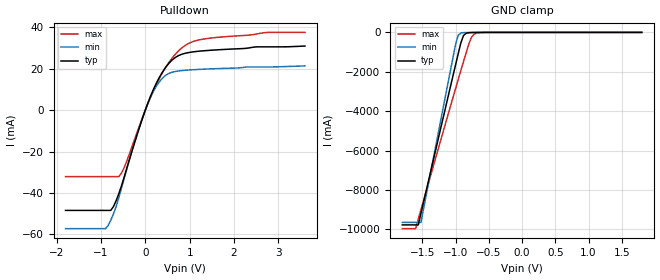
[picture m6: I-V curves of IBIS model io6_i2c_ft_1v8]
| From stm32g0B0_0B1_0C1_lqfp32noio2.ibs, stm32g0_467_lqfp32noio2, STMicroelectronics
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|   Model io6_i2c_ft_1v8
[Model]  io6_i2c_ft_1v8
Model_type I/O_open_drain
Polarity   Non-Inverting
Enable   Active-High
Vinl =   0.540000V
Vinh =   1.260000V
Vmeas =  0.900000V
Cref =   30.000000pF
Rref =   100.000000
Vref =   2.000000V
C_comp   1.962900pF   1.853500pF   2.066400pF
[Temperature Range]   25.000000   -40.000000   0.125000k
[Pullup Reference]   1.800000V   1.600000V   2.000000V
[Pulldown Reference]   0.0V   0.0V   0.0V
[POWER Clamp Reference]   1.800000V   1.600000V   2.000000V
[GND Clamp Reference]   0.0V   0.0V   0.0V
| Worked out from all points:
|   slope of the pulldown table from 0 to 0.27 V, typ, clamps not added: 19.5 ohm
|   GND clamp passes 1 mA (typ) near -0.58 V on its own axis
[Pulldown]
|Voltage   I(typ)   I(min)   I(max)
-1.8V     -48.38mA   -57.19mA   -32.1mA
-900mV    -48.38mA   -57.19mA   -32.1mA
-720mV    -46.58mA   -50.16mA   -32.1mA
-600mV    -40.48mA   -42.45mA   -32.1mA
-480mV    -32.53mA   -33.18mA   -27.91mA
0V        10fA       11fA       0A
240mV     12.61mA    11.24mA    12.02mA
480mV     21.23mA    17.08mA    21.33mA
840mV     27.07mA    19.1mA     30.29mA
1.2V      28.39mA    19.63mA    33.8mA
2.76V     30.52mA    20.81mA    37.48mA
3.6V      30.9mA     21.33mA    37.48mA
[GND_clamp]
|Voltage   I(typ)   I(min)   I(max)
-1.8V     -9.78A     -9.654A    -9.97A
-1.6V     -9.78A     -9.654A    -9.97A
-1.56V    -9.78A     -9.654A    -9.488A
-1.52V    -9.197A    -9.654A    -9.009A
-1V       -1.657A    -623.4mA   -2.861A
-960mV    -1.089A    -143.5mA   -2.397A
-920mV    -532.3mA   -32.25mA   -1.936A
-880mV    -156.3mA   -12.42mA   -1.48A
-840mV    -44.7mA    -7.779mA   -1.031A
-760mV    -8.016mA   -3.95mA    -244.2mA
-680mV    -3.283mA   -1.507mA   -34.99mA
1.8V      0A         0A         0A
[POWER_clamp]
|Voltage   I(typ)   I(min)   I(max)
-1.8V     0A         0A         0A
0V        0A         0A         0A
[Ramp]
| variable   typ   min   max
dV/dt_r  0.72161/0.64295n   0.55795/1.09969n   0.80116/0.66494n
dV/dt_f  0.72161/5.32241n   0.55795/7.70626n   0.80116/4.48932n
R_load = 50.000000
|End [Model] io6_i2c_ft_1v8
